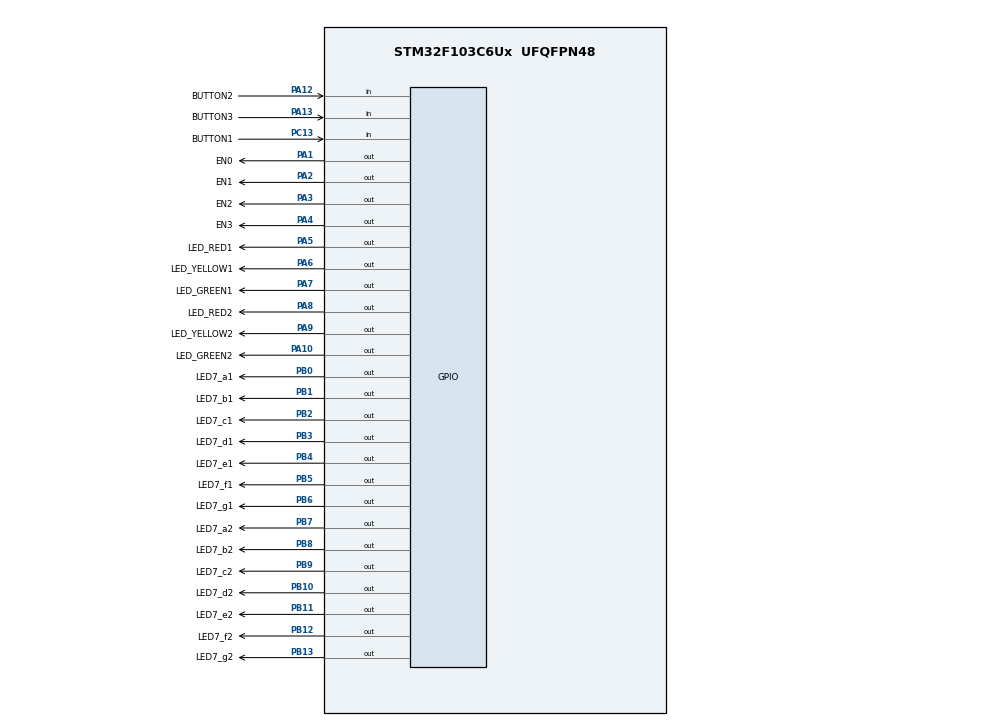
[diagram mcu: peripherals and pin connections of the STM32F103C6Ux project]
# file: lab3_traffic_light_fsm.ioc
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Mcu.Family=STM32F1
Mcu.Name=STM32F103C6Ux
Mcu.Package=UFQFPN48
NVIC.PriorityGroup=NVIC_PRIORITYGROUP_4
NVIC.TIM2_IRQn=true\:0\:0\:false\:false\:true\:true\:true
PA1.GPIO_Label=EN0
PA1.Signal=GPIO_Output
PA10.GPIO_Label=LED_GREEN2
PA10.Signal=GPIO_Output
PA12.GPIO_Label=BUTTON2
PA12.GPIO_PuPd=GPIO_PULLUP
PA12.Signal=GPIO_Input
PA13.GPIO_Label=BUTTON3
PA13.GPIO_PuPd=GPIO_PULLUP
PA13.Signal=GPIO_Input
PA2.GPIO_Label=EN1
PA2.Signal=GPIO_Output
PA3.GPIO_Label=EN2
PA3.Signal=GPIO_Output
PA4.GPIO_Label=EN3
PA4.Signal=GPIO_Output
PA5.GPIO_Label=LED_RED1
PA5.Signal=GPIO_Output
PA6.GPIO_Label=LED_YELLOW1
PA6.Signal=GPIO_Output
PA7.GPIO_Label=LED_GREEN1
PA7.Signal=GPIO_Output
PA8.GPIO_Label=LED_RED2
PA8.Signal=GPIO_Output
PA9.GPIO_Label=LED_YELLOW2
PA9.Signal=GPIO_Output
PB0.GPIO_Label=LED7_a1
PB0.Signal=GPIO_Output
PB1.GPIO_Label=LED7_b1
PB1.Signal=GPIO_Output
PB10.GPIO_Label=LED7_d2
PB10.Signal=GPIO_Output
PB11.GPIO_Label=LED7_e2
PB11.Signal=GPIO_Output
PB12.GPIO_Label=LED7_f2
PB12.Signal=GPIO_Output
PB13.GPIO_Label=LED7_g2
PB13.Signal=GPIO_Output
PB2.GPIO_Label=LED7_c1
PB2.Signal=GPIO_Output
PB3.GPIO_Label=LED7_d1
PB3.Signal=GPIO_Output
PB4.GPIO_Label=LED7_e1
PB4.Signal=GPIO_Output
PB5.GPIO_Label=LED7_f1
PB5.Signal=GPIO_Output
PB6.GPIO_Label=LED7_g1
PB6.Signal=GPIO_Output
PB7.GPIO_Label=LED7_a2
PB7.Signal=GPIO_Output
PB8.GPIO_Label=LED7_b2
PB8.Signal=GPIO_Output
PB9.GPIO_Label=LED7_c2
PB9.Signal=GPIO_Output
PC13-TAMPER-RTC.GPIO_Label=BUTTON1
PC13-TAMPER-RTC.GPIO_PuPd=GPIO_PULLUP
PC13-TAMPER-RTC.Signal=GPIO_Input
ProjectManager.HeapSize=0x200
ProjectManager.StackSize=0x400
ProjectManager.TargetToolchain=STM32CubeIDE
RCC.APB1Freq_Value=8000000
RCC.APB2Freq_Value=8000000
TIM2.Period=9
TIM2.Prescaler=7999
VP_SYS_VS_ND.Mode=No_Debug
VP_TIM2_VS_ClockSourceINT.Mode=Internal
board=custom

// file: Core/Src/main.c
/* USER CODE BEGIN Header */
/**
  ******************************************************************************
  * @file           : main.c
  * @brief          : Main program body
  ******************************************************************************
  * @attention
  *
  * <h2><center>&copy; Copyright (c) 2025 STMicroelectronics.
  * All rights reserved.</center></h2>
  *
  * This software component is licensed by ST under BSD 3-Clause license,
  * the "License"; You may not use this file except in compliance with the
  * License. You may obtain a copy of the License at:
  *                        opensource.org/licenses/BSD-3-Clause
  *
  ******************************************************************************
  */
/* USER CODE END Header */
#include "main.h"

/* USER CODE BEGIN Includes */
#include "software_timer.h"
#include "button.h"
#include "fsm_config.h"
#include "fsm_automatic.h"
#include "display_7seg.h"
#include "traffic_light_control.h"
/* USER CODE END Includes */

TIM_HandleTypeDef htim2;

void SystemClock_Config(void);
static void MX_GPIO_Init(void);
static void MX_TIM2_Init(void);

int main(void)
{

  /* MCU Configuration--------------------------------------------------------*/

  /* Reset of all peripherals, Initializes the Flash interface and the Systick. */
  HAL_Init();

  /* Configure the system clock */
  SystemClock_Config();

  /* Initialize all configured peripherals */
  MX_GPIO_Init();
  MX_TIM2_Init();
  /* USER CODE BEGIN 2 */
  HAL_TIM_Base_Start_IT(&htim2);
  /* USER CODE END 2 */

  /* Infinite loop */
  /* USER CODE BEGIN WHILE */
  //timer_init();
  setTimer1(500);
  setTimer2(100);
  //setTimer5(500);
  setTimer3(100);
  setTimer4(1000);
  while (1)
  {
	  //fsm_automatic_run();
	  fsm_config();
    /* USER CODE END WHILE */

  }
}

void SystemClock_Config(void)
{
  RCC_OscInitTypeDef RCC_OscInitStruct = {0};
  RCC_ClkInitTypeDef RCC_ClkInitStruct = {0};

  /** Initializes the RCC Oscillators according to the specified parameters
  * in the RCC_OscInitTypeDef structure.
  */
  RCC_OscInitStruct.OscillatorType = RCC_OSCILLATORTYPE_HSI;
  RCC_OscInitStruct.HSIState = RCC_HSI_ON;
  RCC_OscInitStruct.HSICalibrationValue = RCC_HSICALIBRATION_DEFAULT;
  RCC_OscInitStruct.PLL.PLLState = RCC_PLL_NONE;
  if (HAL_RCC_OscConfig(&RCC_OscInitStruct) != HAL_OK)
  {
    Error_Handler();
  }
  /** Initializes the CPU, AHB and APB buses clocks
  */
  RCC_ClkInitStruct.ClockType = RCC_CLOCKTYPE_HCLK|RCC_CLOCKTYPE_SYSCLK
                              |RCC_CLOCKTYPE_PCLK1|RCC_CLOCKTYPE_PCLK2;
  RCC_ClkInitStruct.SYSCLKSource = RCC_SYSCLKSOURCE_HSI;
  RCC_ClkInitStruct.AHBCLKDivider = RCC_SYSCLK_DIV1;
  RCC_ClkInitStruct.APB1CLKDivider = RCC_HCLK_DIV1;
  RCC_ClkInitStruct.APB2CLKDivider = RCC_HCLK_DIV1;

  if (HAL_RCC_ClockConfig(&RCC_ClkInitStruct, FLASH_LATENCY_0) != HAL_OK)
  {
    Error_Handler();
  }
}

static void MX_TIM2_Init(void)
{

  TIM_ClockConfigTypeDef sClockSourceConfig = {0};
  TIM_MasterConfigTypeDef sMasterConfig = {0};

  htim2.Instance = TIM2;
  htim2.Init.Prescaler = 7999;
  htim2.Init.CounterMode = TIM_COUNTERMODE_UP;
  htim2.Init.Period = 9;
  htim2.Init.ClockDivision = TIM_CLOCKDIVISION_DIV1;
  htim2.Init.AutoReloadPreload = TIM_AUTORELOAD_PRELOAD_DISABLE;
  if (HAL_TIM_Base_Init(&htim2) != HAL_OK)
  {
    Error_Handler();
  }
  sClockSourceConfig.ClockSource = TIM_CLOCKSOURCE_INTERNAL;
  if (HAL_TIM_ConfigClockSource(&htim2, &sClockSourceConfig) != HAL_OK)
  {
    Error_Handler();
  }
  sMasterConfig.MasterOutputTrigger = TIM_TRGO_RESET;
  sMasterConfig.MasterSlaveMode = TIM_MASTERSLAVEMODE_DISABLE;
  if (HAL_TIMEx_MasterConfigSynchronization(&htim2, &sMasterConfig) != HAL_OK)
  {
    Error_Handler();
  }

}

static void MX_GPIO_Init(void)
{
  GPIO_InitTypeDef GPIO_InitStruct = {0};

  /* GPIO Ports Clock Enable */
  __HAL_RCC_GPIOC_CLK_ENABLE();
  __HAL_RCC_GPIOA_CLK_ENABLE();
  __HAL_RCC_GPIOB_CLK_ENABLE();

  /*Configure GPIO pin Output Level */
  HAL_GPIO_WritePin(GPIOA, EN0_Pin|EN1_Pin|EN2_Pin|EN3_Pin
                          |LED_RED1_Pin|LED_YELLOW1_Pin|LED_GREEN1_Pin|LED_RED2_Pin
                          |LED_YELLOW2_Pin|LED_GREEN2_Pin, GPIO_PIN_RESET);

  /*Configure GPIO pin Output Level */
  HAL_GPIO_WritePin(GPIOB, LED7_a1_Pin|LED7_b1_Pin|LED7_c1_Pin|LED7_d2_Pin
                          |LED7_e2_Pin|LED7_f2_Pin|LED7_g2_Pin|LED7_d1_Pin
                          |LED7_e1_Pin|LED7_f1_Pin|LED7_g1_Pin|LED7_a2_Pin
                          |LED7_b2_Pin|LED7_c2_Pin, GPIO_PIN_RESET);

  /*Configure GPIO pin : BUTTON1_Pin */
  GPIO_InitStruct.Pin = BUTTON1_Pin;
  GPIO_InitStruct.Mode = GPIO_MODE_INPUT;
  GPIO_InitStruct.Pull = GPIO_PULLUP;
  HAL_GPIO_Init(BUTTON1_GPIO_Port, &GPIO_InitStruct);

  /*Configure GPIO pins : EN0_Pin EN1_Pin EN2_Pin EN3_Pin
                           LED_RED1_Pin LED_YELLOW1_Pin LED_GREEN1_Pin LED_RED2_Pin
                           LED_YELLOW2_Pin LED_GREEN2_Pin */
  GPIO_InitStruct.Pin = EN0_Pin|EN1_Pin|EN2_Pin|EN3_Pin
                          |LED_RED1_Pin|LED_YELLOW1_Pin|LED_GREEN1_Pin|LED_RED2_Pin
                          |LED_YELLOW2_Pin|LED_GREEN2_Pin;
  GPIO_InitStruct.Mode = GPIO_MODE_OUTPUT_PP;
  GPIO_InitStruct.Pull = GPIO_NOPULL;
  GPIO_InitStruct.Speed = GPIO_SPEED_FREQ_LOW;
  HAL_GPIO_Init(GPIOA, &GPIO_InitStruct);

  /*Configure GPIO pins : LED7_a1_Pin LED7_b1_Pin LED7_c1_Pin LED7_d2_Pin
                           LED7_e2_Pin LED7_f2_Pin LED7_g2_Pin LED7_d1_Pin
                           LED7_e1_Pin LED7_f1_Pin LED7_g1_Pin LED7_a2_Pin
                           LED7_b2_Pin LED7_c2_Pin */
  GPIO_InitStruct.Pin = LED7_a1_Pin|LED7_b1_Pin|LED7_c1_Pin|LED7_d2_Pin
                          |LED7_e2_Pin|LED7_f2_Pin|LED7_g2_Pin|LED7_d1_Pin
                          |LED7_e1_Pin|LED7_f1_Pin|LED7_g1_Pin|LED7_a2_Pin
                          |LED7_b2_Pin|LED7_c2_Pin;
  GPIO_InitStruct.Mode = GPIO_MODE_OUTPUT_PP;
  GPIO_InitStruct.Pull = GPIO_NOPULL;
  GPIO_InitStruct.Speed = GPIO_SPEED_FREQ_LOW;
  HAL_GPIO_Init(GPIOB, &GPIO_InitStruct);

  /*Configure GPIO pins : BUTTON2_Pin BUTTON3_Pin */
  GPIO_InitStruct.Pin = BUTTON2_Pin|BUTTON3_Pin;
  GPIO_InitStruct.Mode = GPIO_MODE_INPUT;
  GPIO_InitStruct.Pull = GPIO_PULLUP;
  HAL_GPIO_Init(GPIOA, &GPIO_InitStruct);

}

/* USER CODE BEGIN 4 */
void HAL_TIM_PeriodElapsedCallback(TIM_HandleTypeDef *htim){
	if(htim->Instance == TIM2){
		timerRun();
		getKeyInput();
	}
}
/* USER CODE END 4 */

void Error_Handler(void)
{
  __disable_irq();
  while (1)
  {
  }
}

/************************ (C) COPYRIGHT STMicroelectronics *****END OF FILE****/
